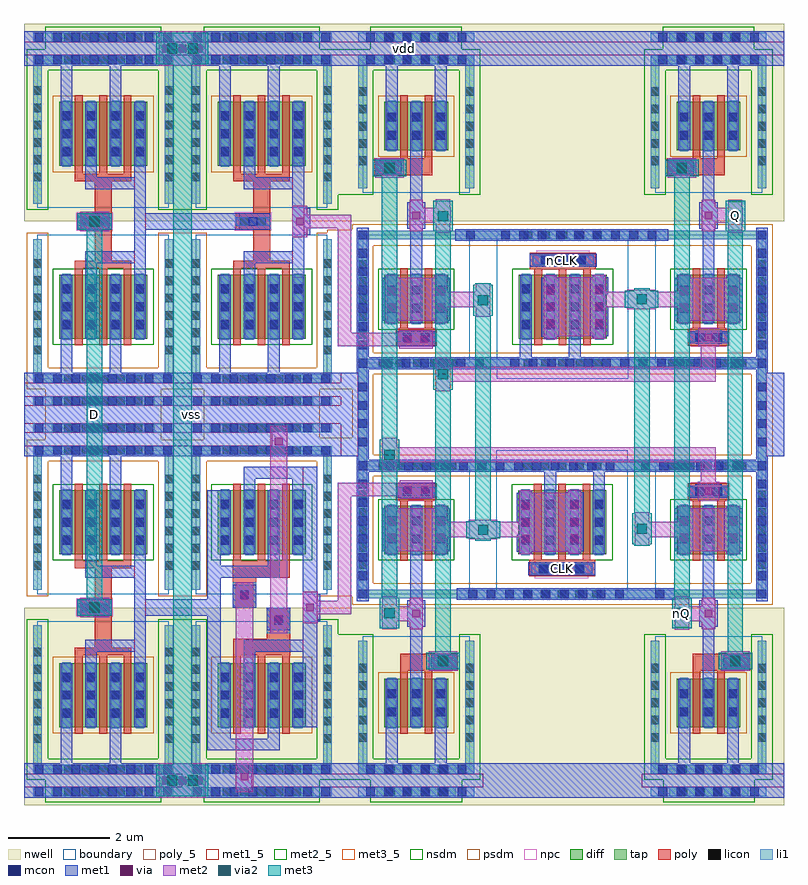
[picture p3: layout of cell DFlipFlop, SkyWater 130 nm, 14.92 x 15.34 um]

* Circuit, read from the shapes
.subckt DFlipFlop CLK D Q nCLK nQ vdd vss
XM1 clock_inverter_2/inverter_cp_x1_1/out D vss vss sky130_fd_pr__nfet_01v8 w=1.25 l=0.15 m=3
XM2 clock_inverter_2/inverter_cp_x1_2/in D vss vss sky130_fd_pr__nfet_01v8 w=1.25 l=0.15 m=3
XM3 clock_inverter_2/nCLK_d vdd clock_inverter_2/inverter_cp_x1_1/out vss sky130_fd_pr__nfet_01v8 w=1.25 l=0.15 m=3
XM4 clock_inverter_2/CLK_d clock_inverter_2/inverter_cp_x1_2/in vss vss sky130_fd_pr__nfet_01v8 w=1.25 l=0.15 m=3
XM5 latch_diff_1/D clock_inverter_2/nCLK_d n1 vss sky130_fd_pr__nfet_01v8 w=0.95 l=0.15 m=2
XM6 latch_diff_1/nD clock_inverter_2/CLK_d n1 vss sky130_fd_pr__nfet_01v8 w=0.95 l=0.15 m=2
XM7 vss CLK n1 vss sky130_fd_pr__nfet_01v8 w=1.25 l=0.15 m=3
XM8 n2 nCLK vss vss sky130_fd_pr__nfet_01v8 w=1.25 l=0.15 m=3
XM9 nQ latch_diff_1/D n2 vss sky130_fd_pr__nfet_01v8 w=0.95 l=0.15 m=2
XM10 Q latch_diff_1/nD n2 vss sky130_fd_pr__nfet_01v8 w=0.95 l=0.15 m=2
XM11 clock_inverter_2/inverter_cp_x1_1/out D vdd vdd sky130_fd_pr__pfet_01v8 w=1.25 l=0.15 m=3
XM12 clock_inverter_2/inverter_cp_x1_2/in D vdd vdd sky130_fd_pr__pfet_01v8 w=1.25 l=0.15 m=3
XM13 clock_inverter_2/nCLK_d vss clock_inverter_2/inverter_cp_x1_1/out vdd sky130_fd_pr__pfet_01v8 w=1.25 l=0.15 m=3
XM14 clock_inverter_2/CLK_d clock_inverter_2/inverter_cp_x1_2/in vdd vdd sky130_fd_pr__pfet_01v8 w=1.25 l=0.15 m=3
XM15 latch_diff_1/D latch_diff_1/nD vdd vdd sky130_fd_pr__pfet_01v8 w=0.95 l=0.15 m=2
XM16 latch_diff_1/nD latch_diff_1/D vdd vdd sky130_fd_pr__pfet_01v8 w=0.95 l=0.15 m=2
XM17 nQ Q vdd vdd sky130_fd_pr__pfet_01v8 w=0.95 l=0.15 m=2
XM18 Q nQ vdd vdd sky130_fd_pr__pfet_01v8 w=0.95 l=0.15 m=2
.ends

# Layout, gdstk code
from math import pi, radians
import gdstk
lib = gdstk.Library(unit=1e-6, precision=1e-09)
def R(c, l, rs):  # rectangles x0, y0, x1, y1
    for r in rs: c.add(gdstk.rectangle(r[:2], r[2:], *l))
def A(c, l, x, y, w, h, nx, ny, dx, dy):  # array of equal rectangles
    R(c, l, [(x+i*dx, y+j*dy, x+i*dx+w, y+j*dy+h) for i in range(nx) for j in range(ny)])
nwell = (64, 20)
diff = (65, 20)
tap = (65, 44)
poly_5 = (66, 5)
poly = (66, 20)
licon = (66, 44)
li1 = (67, 20)
mcon = (67, 44)
met1_5 = (68, 5)
met1 = (68, 20)
via = (68, 44)
met2_5 = (69, 5)
met2 = (69, 20)
via2 = (69, 44)
met3_5 = (70, 5)
met3 = (70, 20)
nsdm = (93, 44)
psdm = (94, 20)
npc = (95, 20)
boundary = (235, 4)

sky130_fd_pr__nfet_01v8_ = lib.new_cell('sky130_fd_pr__nfet_01v8_KU9PSX')
R(sky130_fd_pr__nfet_01v8_, diff, [(-0.625,-0.475,0.625,0.475)])
R(sky130_fd_pr__nfet_01v8_, tap, [(-1.135,-1.345,1.135,-1.175), (-1.135,-1.175,-0.965,1.175)])
R(sky130_fd_pr__nfet_01v8_, poly, [(-0.405,-0.915,0.405,-0.585), (-0.315,-0.585,-0.165,0.605), (0.165,-0.585,0.315,0.605)])
A(sky130_fd_pr__nfet_01v8_, licon, -0.74, -1.345, 0.17, 0.17, 5, 1, 0.34, 0)
A(sky130_fd_pr__nfet_01v8_, licon, -1.135, -0.765, 0.17, 0.17, 1, 5, 0, 0.34)
A(sky130_fd_pr__nfet_01v8_, licon, -0.565, -0.255, 0.17, 0.17, 3, 2, 0.48, 0.34)
R(sky130_fd_pr__nfet_01v8_, licon, [(-0.255,-0.835,-0.085,-0.665), (0.085,-0.835,0.255,-0.665)])
A(sky130_fd_pr__nfet_01v8_, li1, -0.565, -0.495, 0.17, 0.99, 3, 1, 0.48, 0)
R(sky130_fd_pr__nfet_01v8_, li1, [(-1.135,-1.345,1.135,-1.175), (-1.135,-1.175,-0.965,1.175), (-0.405,-0.835,0.405,-0.665)])
A(sky130_fd_pr__nfet_01v8_, mcon, -0.565, -0.265, 0.17, 0.17, 3, 2, 0.48, 0.36)
R(sky130_fd_pr__nfet_01v8_, mcon, [(-0.265,-0.835,-0.095,-0.665), (0.095,-0.835,0.265,-0.665)])
R(sky130_fd_pr__nfet_01v8_, met1, [(-0.385,-0.865,0.385,-0.635), (-0.595,-0.475,-0.365,-0.425), (-0.115,-0.475,0.115,0.475), (0.365,-0.475,0.595,-0.425), (-0.66,-0.425,-0.3,0.42), (0.3,-0.425,0.66,0.42), (-0.595,0.42,-0.365,0.475), (0.365,0.42,0.595,0.475)])
R(sky130_fd_pr__nfet_01v8_, via, [(-0.555,-0.24,-0.405,-0.09), (0.405,-0.24,0.555,-0.09), (-0.555,0.08,-0.405,0.23), (0.405,0.08,0.555,0.23)])
R(sky130_fd_pr__nfet_01v8_, met2, [(-0.61,-0.475,-0.35,-0.425), (0.35,-0.475,0.61,-0.425), (-0.61,-0.425,0.61,0.42), (-0.61,0.42,-0.35,0.47), (0.35,0.42,0.61,0.47)])
R(sky130_fd_pr__nfet_01v8_, nsdm, [(-0.75,-0.6,0.75,0.6)])
R(sky130_fd_pr__nfet_01v8_, psdm, [(-1.26,-1.47,1.26,-1.05), (-1.26,-1.05,-0.84,1.3)])
R(sky130_fd_pr__nfet_01v8_, npc, [(-0.355,-0.935,0.355,-0.565)])
R(sky130_fd_pr__nfet_01v8_, boundary, [(-1.05,-1.26,1.05,1.26)])

sky130_fd_pr__pfet_01v8_ = lib.new_cell('sky130_fd_pr__pfet_01v8_MJG8BZ')
R(sky130_fd_pr__pfet_01v8_, nwell, [(-1.315,-1.57,1.315,1.57)])
R(sky130_fd_pr__pfet_01v8_, diff, [(-0.625,-0.475,0.625,0.475)])
R(sky130_fd_pr__pfet_01v8_, tap, [(-1.135,-1.22,-0.965,1.22), (0.965,-1.22,1.135,1.22), (-1.135,1.22,1.135,1.39)])
R(sky130_fd_pr__pfet_01v8_, poly, [(-0.315,-0.96,0.315,-0.63), (-0.315,-0.63,-0.165,0.605), (0.165,-0.63,0.315,0.605)])
A(sky130_fd_pr__pfet_01v8_, licon, -1.135, -0.765, 0.17, 0.17, 1, 5, 0, 0.34)
A(sky130_fd_pr__pfet_01v8_, licon, 0.965, -0.765, 0.17, 0.17, 1, 5, 0, 0.34)
A(sky130_fd_pr__pfet_01v8_, licon, -0.565, -0.255, 0.17, 0.17, 3, 2, 0.48, 0.34)
A(sky130_fd_pr__pfet_01v8_, licon, -0.595, 1.22, 0.17, 0.17, 4, 1, 0.34, 0)
A(sky130_fd_pr__pfet_01v8_, li1, -0.565, -0.495, 0.17, 0.99, 3, 1, 0.48, 0)
R(sky130_fd_pr__pfet_01v8_, li1, [(-1.135,-1.22,-0.965,1.22), (0.965,-1.22,1.135,1.22), (-1.135,1.22,1.135,1.39)])
A(sky130_fd_pr__pfet_01v8_, mcon, -0.565, -0.265, 0.17, 0.17, 3, 2, 0.48, 0.36)
A(sky130_fd_pr__pfet_01v8_, met1, -0.595, -0.475, 0.23, 0.95, 3, 1, 0.48, 0)
R(sky130_fd_pr__pfet_01v8_, nsdm, [(-1.26,-1.345,-0.84,1.095), (0.84,-1.345,1.26,1.095), (-1.26,1.095,1.26,1.515)])
R(sky130_fd_pr__pfet_01v8_, psdm, [(-0.75,-0.6,0.75,0.6)])
R(sky130_fd_pr__pfet_01v8_, boundary, [(-1.05,-1.305,1.05,1.305)])

c_sky130_fd_pr__nfet_01v8_ = lib.new_cell('sky130_fd_pr__nfet_01v8_2BS854')
R(c_sky130_fd_pr__nfet_01v8_, diff, [(-0.865,-0.625,0.865,0.625)])
R(c_sky130_fd_pr__nfet_01v8_, tap, [(-1.205,-1.495,1.205,-1.325), (-1.205,1.025,1.205,1.195)])
A(c_sky130_fd_pr__nfet_01v8_, poly, -0.555, -0.735, 0.15, 1.49, 3, 1, 0.48, 0)
R(c_sky130_fd_pr__nfet_01v8_, poly, [(-0.645,-1.065,0.645,-0.735)])
A(c_sky130_fd_pr__nfet_01v8_, licon, -0.765, -1.495, 0.17, 0.17, 5, 2, 0.34, 2.52)
A(c_sky130_fd_pr__nfet_01v8_, licon, -0.435, -1, 0.17, 0.17, 3, 1, 0.34, 0)
A(c_sky130_fd_pr__nfet_01v8_, licon, -0.805, -0.425, 0.17, 0.17, 4, 3, 0.48, 0.34)
A(c_sky130_fd_pr__nfet_01v8_, li1, -0.805, -0.645, 0.17, 1.29, 4, 1, 0.48, 0)
R(c_sky130_fd_pr__nfet_01v8_, li1, [(-1.205,-1.495,1.205,-1.325), (-0.61,-1.015,0.59,-0.815), (-1.205,1.025,1.205,1.195)])
A(c_sky130_fd_pr__nfet_01v8_, mcon, -0.455, -1, 0.17, 0.17, 3, 1, 0.36, 0)
A(c_sky130_fd_pr__nfet_01v8_, mcon, -0.805, -0.445, 0.17, 0.17, 4, 3, 0.48, 0.36)
A(c_sky130_fd_pr__nfet_01v8_, met1, -0.835, -0.625, 0.23, 1.25, 4, 1, 0.48, 0)
R(c_sky130_fd_pr__nfet_01v8_, met1, [(-0.67,-1.045,0.65,-0.785)])
R(c_sky130_fd_pr__nfet_01v8_, nsdm, [(-0.99,-0.75,0.99,0.75)])
R(c_sky130_fd_pr__nfet_01v8_, psdm, [(-1.33,-1.62,1.33,-1.2), (-1.33,0.9,1.33,1.32)])
R(c_sky130_fd_pr__nfet_01v8_, npc, [(-0.535,-1.1,0.515,-0.73)])
R(c_sky130_fd_pr__nfet_01v8_, boundary, [(-1.29,-1.41,1.29,1.41)])

latch_diff = lib.new_cell('latch_diff')
R(latch_diff, nwell, [(-0.165,-3.58,2.63,-3.14), (-0.165,-3.14,0,-0.005), (-0.165,-0.005,2.63,0.3), (-0.165,7.88,2.63,9.5), (-0.165,9.5,1.7,10.685), (-0.165,10.685,1.535,11.305), (-0.165,11.305,2.625,11.32), (-0.165,11.32,2.63,11.76)])
R(latch_diff, tap, [(0.54,-3.4,2.09,-3.23), (0.18,0.48,3.065,0.65), (0.18,0.65,0.35,0.91), (0.18,2.815,0.35,5.135), (2.12,3,3.165,3.17), (2.265,5.01,2.775,5.18), (0.18,7.53,2.17,7.7), (0.535,11.41,2.085,11.58)])
R(latch_diff, poly, [(1.48,-0.94,2.135,-0.61), (0.495,8.79,1.15,9.12)])
A(latch_diff, licon, 0.72, -3.4, 0.17, 0.17, 4, 1, 0.34, 0)
A(latch_diff, licon, 0.715, 11.41, 0.17, 0.17, 4, 1, 0.34, 0)
R(latch_diff, licon, [(1.755,-0.855,1.925,-0.685), (0.705,8.865,0.875,9.035)])
R(latch_diff, li1, [(0.18,-3.4,2.45,-3.23), (0.18,-2.96,2.45,-2.79), (1.59,-0.855,2.09,-0.685), (0.18,0.48,5.56,0.65), (0.18,0.65,0.35,3), (0.18,3,5.385,3.17), (0.18,3.17,0.35,5.01), (0.18,5.01,2.775,5.18), (0.18,5.18,0.35,7.53), (0.18,7.53,2.17,7.7), (0.54,8.865,1.04,9.035), (0.18,10.97,2.45,11.14), (0.18,11.41,2.45,11.58)])
A(latch_diff, mcon, 0.33, -3.4, 0.17, 0.17, 6, 2, 0.36, 0.44)
A(latch_diff, mcon, 0.18, 0.48, 0.17, 0.17, 1, 8, 0, 0.36)
A(latch_diff, mcon, 2.34, 0.48, 0.17, 0.17, 9, 1, 0.36, 0)
A(latch_diff, mcon, 0.715, 3, 0.17, 0.17, 13, 1, 0.36, 0)
A(latch_diff, mcon, 0.18, 3.465, 0.17, 0.17, 1, 4, 0, 0.36)
A(latch_diff, mcon, 0.18, 5.01, 0.17, 0.17, 1, 8, 0, 0.36)
A(latch_diff, mcon, 0.67, 5.01, 0.17, 0.17, 6, 1, 0.36, 0)
A(latch_diff, mcon, 0.33, 10.97, 0.17, 0.17, 6, 2, 0.36, 0.44)
R(latch_diff, mcon, [(1.755,-0.855,1.925,-0.685), (0.705,8.865,0.875,9.035)])
R(latch_diff, met1_5, [(-0.165,-3.23,2.63,-2.96), (3.57,0.96,4.77,1.16), (0.99,2.49,1.64,2.66), (-0.165,3.27,0.18,4.91), (0.99,5.52,1.64,5.69), (-0.165,11.14,2.63,11.41)])
R(latch_diff, met1, [(-0.165,-3.43,2.63,-2.76), (0.72,-2.76,0.95,-2.04), (1.68,-2.76,1.91,-1.995), (1.2,-1.095,1.43,-0.075), (1.61,-0.885,2.12,-0.625), (1.135,-0.075,1.495,0.445), (0.15,0.42,0.38,2.97), (1.2,0.445,1.43,1.35), (2.11,0.45,5.62,0.68), (3.57,0.96,4.77,1.16), (3.285,1.4,3.645,1.73), (4.245,1.405,4.605,2.56), (3.335,1.73,3.645,1.96), (3.285,1.96,3.645,2.555), (0.99,2.49,1.64,2.66), (3.83,2.595,4.06,2.97), (4.79,2.595,5.02,2.97), (0.15,2.97,5.445,3.2), (0.15,3.2,0.38,3.27), (-0.165,3.27,0.38,4.91), (0.15,4.91,0.38,4.98), (0.15,4.98,2.835,5.21), (0.15,5.21,0.38,7.76), (0.99,5.52,1.64,5.69), (1.2,6.83,1.43,7.735), (1.135,7.735,1.495,8.255), (1.2,8.255,1.43,9.505), (0.51,8.805,1.02,9.065), (0.72,10.225,0.95,10.94), (1.68,10.225,1.91,10.94), (-0.165,10.94,2.63,11.61)])
A(latch_diff, via, 3.39, 1.58, 0.15, 0.15, 1, 3, 0, 0.32)
A(latch_diff, via, 4.35, 1.585, 0.15, 0.15, 1, 3, 0, 0.32)
R(latch_diff, via, [(1.79,-0.83,1.94,-0.68), (1.24,0.11,1.39,0.26), (1.24,7.92,1.39,8.07), (0.69,8.86,0.84,9.01)])
R(latch_diff, met2, [(1.56,-0.94,2.12,-0.56), (0.65,-0.13,0.93,0.035), (1.185,-0.125,1.445,0.035), (0.64,0.035,1.445,0.33), (0.65,0.33,0.93,0.52), (1.185,0.33,1.445,0.495), (3.335,1.35,3.595,1.4), (4.295,1.355,4.555,1.4), (3.335,1.4,4.555,1.68), (2.35,1.64,2.91,1.68), (1.8,1.68,4.555,1.98), (2.35,1.98,2.91,2.02), (3.335,1.98,4.555,2.555), (3.335,2.555,3.595,2.605), (4.295,2.555,4.555,2.61), (2.485,6.005,2.765,6.195), (1.795,6.195,2.765,6.495), (2.485,6.495,2.765,6.665), (1.7,7.66,1.98,7.85), (1.185,7.685,1.445,7.85), (1.185,7.85,1.99,8.145), (1.185,8.145,1.445,8.305), (1.7,8.145,1.98,8.315), (0.51,8.74,1.07,9.12)])
R(latch_diff, via2, [(1.74,-0.85,1.94,-0.65), (0.69,0.09,0.89,0.29), (2.53,1.73,2.73,1.93), (2.525,6.235,2.725,6.435), (1.74,7.885,1.94,8.085), (0.69,8.83,0.89,9.03)])
R(latch_diff, met3_5, [(1.69,-0.61,1.99,7.71), (0.64,0.47,0.94,8.79)])
R(latch_diff, met3, [(1.51,-0.915,2.17,-0.585), (1.69,-0.585,1.99,7.685), (0.6,-0.11,0.98,0.495), (0.64,0.495,0.94,8.765), (2.475,1.615,2.775,1.665), (2.3,1.665,2.96,1.995), (2.475,1.995,2.775,6.03), (2.435,6.03,2.815,6.64), (2.475,6.64,2.775,6.665), (1.65,7.685,2.03,8.29), (0.46,8.765,1.12,9.095)])
R(latch_diff, nsdm, [(0.415,-3.525,2.215,-3.085), (0.41,11.265,2.21,11.705)])
R(latch_diff, psdm, [(0.055,0.355,3.19,0.775), (0.055,0.775,0.475,1.035), (0.055,2.69,0.475,5.26), (1.995,2.875,3.29,3.295), (2.14,4.885,2.9,5.305), (0.055,7.405,2.295,7.825)])
R(latch_diff, npc, [(1.655,-0.955,2.025,-0.585), (0.605,8.765,0.975,9.135)])
latch_diff.add(gdstk.Reference(sky130_fd_pr__nfet_01v8_, (1.315,1.825), x_reflection=True))
latch_diff.add(gdstk.Reference(sky130_fd_pr__nfet_01v8_, (1.315,6.355)))
latch_diff.add(gdstk.Reference(sky130_fd_pr__pfet_01v8_, (1.315,-1.57), rotation=pi))
latch_diff.add(gdstk.Reference(sky130_fd_pr__pfet_01v8_, (1.315,9.75)))
latch_diff.add(gdstk.Reference(c_sky130_fd_pr__nfet_01v8_, (4.18,1.975)))
latch_diff.add(gdstk.Label('vss', (0.007,4.09), layer=68, texttype=5))
latch_diff.add(gdstk.Label('vdd', (1.232,11.275), layer=68, texttype=5))
latch_diff.add(gdstk.Label('Q', (0.79,4.63), layer=70, texttype=5))
latch_diff.add(gdstk.Label('nQ', (1.84,3.55), layer=70, texttype=5))
latch_diff.add(gdstk.Label('D', (1.315,5.605), layer=68, texttype=5))
latch_diff.add(gdstk.Label('nD', (1.315,2.575), layer=68, texttype=5))
latch_diff.add(gdstk.Label('vdd', (1.232,-3.095), layer=68, texttype=5))
latch_diff.add(gdstk.Label('CLK', (4.17,1.06), layer=68, texttype=5))

c_sky130_fd_pr__nfet_01v8__ = lib.new_cell('sky130_fd_pr__nfet_01v8_BHR94T')
R(c_sky130_fd_pr__nfet_01v8__, diff, [(-0.865,-0.625,0.865,0.625)])
R(c_sky130_fd_pr__nfet_01v8__, tap, [(-1.375,-1.495,1.375,-1.325), (-1.375,-1.325,-1.205,1.325), (1.205,-1.325,1.375,1.325)])
A(c_sky130_fd_pr__nfet_01v8__, poly, -0.555, -0.755, 0.15, 1.51, 3, 1, 0.48, 0)
A(c_sky130_fd_pr__nfet_01v8__, licon, -0.765, -1.495, 0.17, 0.17, 5, 1, 0.34, 0)
A(c_sky130_fd_pr__nfet_01v8__, licon, -1.375, -0.935, 0.17, 0.17, 1, 6, 0, 0.34)
A(c_sky130_fd_pr__nfet_01v8__, licon, 1.205, -0.935, 0.17, 0.17, 1, 6, 0, 0.34)
A(c_sky130_fd_pr__nfet_01v8__, licon, -0.805, -0.425, 0.17, 0.17, 4, 3, 0.48, 0.34)
A(c_sky130_fd_pr__nfet_01v8__, li1, -0.805, -0.645, 0.17, 1.29, 4, 1, 0.48, 0)
R(c_sky130_fd_pr__nfet_01v8__, li1, [(-1.375,-1.495,1.375,-1.325), (-1.375,-1.325,-1.205,1.325), (1.205,-1.325,1.375,1.325)])
A(c_sky130_fd_pr__nfet_01v8__, mcon, -0.805, -0.445, 0.17, 0.17, 4, 3, 0.48, 0.36)
A(c_sky130_fd_pr__nfet_01v8__, met1, -0.835, -0.625, 0.23, 1.25, 4, 1, 0.48, 0)
R(c_sky130_fd_pr__nfet_01v8__, nsdm, [(-0.99,-0.75,0.99,0.75)])
R(c_sky130_fd_pr__nfet_01v8__, psdm, [(-1.5,-1.62,1.5,-1.2), (-1.5,-1.2,-1.08,1.45), (1.08,-1.2,1.5,1.45)])
R(c_sky130_fd_pr__nfet_01v8__, boundary, [(-1.29,-1.41,1.29,1.41)])

c_sky130_fd_pr__pfet_01v8_ = lib.new_cell('sky130_fd_pr__pfet_01v8_4798MH')
R(c_sky130_fd_pr__pfet_01v8_, nwell, [(-1.555,-1.72,1.555,1.72)])
R(c_sky130_fd_pr__pfet_01v8_, diff, [(-0.865,-0.625,0.865,0.625)])
R(c_sky130_fd_pr__pfet_01v8_, tap, [(-1.375,-1.37,-1.205,1.37), (1.205,-1.37,1.375,1.37), (-1.375,1.37,1.375,1.54)])
A(c_sky130_fd_pr__pfet_01v8_, poly, -0.555, -0.78, 0.15, 1.535, 3, 1, 0.48, 0)
A(c_sky130_fd_pr__pfet_01v8_, licon, -1.375, -0.935, 0.17, 0.17, 1, 6, 0, 0.34)
A(c_sky130_fd_pr__pfet_01v8_, licon, 1.205, -0.935, 0.17, 0.17, 1, 6, 0, 0.34)
A(c_sky130_fd_pr__pfet_01v8_, licon, -0.805, -0.425, 0.17, 0.17, 4, 3, 0.48, 0.34)
A(c_sky130_fd_pr__pfet_01v8_, licon, -0.765, 1.37, 0.17, 0.17, 5, 1, 0.34, 0)
A(c_sky130_fd_pr__pfet_01v8_, li1, -0.805, -0.645, 0.17, 1.29, 4, 1, 0.48, 0)
R(c_sky130_fd_pr__pfet_01v8_, li1, [(-1.375,-1.37,-1.205,1.37), (1.205,-1.37,1.375,1.37), (-1.375,1.37,1.375,1.54)])
A(c_sky130_fd_pr__pfet_01v8_, mcon, -0.805, -0.445, 0.17, 0.17, 4, 3, 0.48, 0.36)
A(c_sky130_fd_pr__pfet_01v8_, met1, -0.835, -0.625, 0.23, 1.25, 4, 1, 0.48, 0)
R(c_sky130_fd_pr__pfet_01v8_, nsdm, [(-1.5,-1.495,-1.08,1.245), (1.08,-1.495,1.5,1.245), (-1.5,1.245,1.5,1.665)])
R(c_sky130_fd_pr__pfet_01v8_, psdm, [(-0.99,-0.75,0.99,0.75)])
R(c_sky130_fd_pr__pfet_01v8_, boundary, [(-1.29,-1.455,1.29,1.455)])

trans_gate = lib.new_cell('trans_gate')
R(trans_gate, nwell, [(-0.265,3.175,2.845,3.615)])
R(trans_gate, tap, [(0.275,-3.875,2.305,-3.705), (0.275,3.265,2.305,3.435)])
R(trans_gate, poly, [(0.725,-1.185,1.845,-0.855), (0.725,-0.855,1.185,-0.265), (1.395,-0.265,1.855,0.345), (0.735,0.345,1.855,0.675)])
A(trans_gate, licon, 0.525, -3.875, 0.17, 0.17, 5, 2, 0.34, 7.14)
R(trans_gate, licon, [(0.87,-0.6,1.04,-0.43), (1.54,-0.1,1.71,0.07)])
R(trans_gate, li1, [(-0.085,-3.875,2.665,-3.705), (-0.085,-3.435,2.665,-3.265), (0.725,-0.765,1.185,-0.265), (1.395,-0.265,1.855,0.235), (-0.085,2.825,2.665,2.995), (-0.085,3.265,2.665,3.435)])
A(trans_gate, mcon, -0.055, -3.875, 0.17, 0.17, 8, 2, 0.36, 0.44)
A(trans_gate, mcon, -0.055, 2.825, 0.17, 0.17, 8, 2, 0.36, 0.44)
R(trans_gate, mcon, [(0.87,-0.6,1.04,-0.43), (1.54,-0.1,1.71,0.07)])
R(trans_gate, met1_5, [(-0.265,-3.705,1.495,-3.435), (1.085,2.995,2.845,3.265)])
R(trans_gate, met1, [(-0.265,-3.905,2.845,-3.235), (0.935,-3.025,2.385,-2.795), (0.935,-2.795,1.165,-2.565), (1.895,-2.795,2.385,-2.505), (0.225,-2.565,0.455,-1.705), (2.095,-2.505,2.385,-2.275), (2.125,-2.275,2.385,-1.715), (2.095,-1.715,2.385,0.37), (0.225,-1.705,0.485,-1.085), (1.415,-1.315,1.645,-1.085), (0.225,-1.085,1.645,-0.855), (0.225,-0.855,0.485,2.02), (0.725,-0.715,1.185,-0.265), (1.395,-0.265,1.855,0.185), (0.935,0.37,2.385,0.6), (0.935,0.6,1.165,0.89), (2.095,0.6,2.385,0.915), (2.125,0.915,2.385,2.08), (0.225,2.02,0.685,2.31), (1.415,2.02,1.645,2.31), (0.225,2.31,1.645,2.54), (-0.265,2.795,2.845,3.465)])
R(trans_gate, via, [(1.55,-3.6,1.7,-3.45), (0.88,-0.565,1.03,-0.415), (1.55,-0.115,1.7,0.035), (0.88,2.98,1.03,3.13)])
R(trans_gate, met2, [(1.495,-3.835,1.755,-3.83), (1.455,-3.83,1.795,0.235), (0.785,-0.765,1.125,3.365)])
R(trans_gate, nsdm, [(0.15,3.12,2.43,3.56)])
R(trans_gate, psdm, [(0.15,-4,2.43,-3.56)])
R(trans_gate, npc, [(0.77,-0.7,1.14,-0.33), (1.44,-0.2,1.81,0.17)])
trans_gate.add(gdstk.Reference(c_sky130_fd_pr__nfet_01v8__, (1.29,-1.94)))
trans_gate.add(gdstk.Reference(c_sky130_fd_pr__pfet_01v8_, (1.29,1.455)))
trans_gate.add(gdstk.Label('vdd', (1.965,3.13), layer=68, texttype=5))
trans_gate.add(gdstk.Label('vss', (0.615,-3.57), layer=68, texttype=5))

c_sky130_fd_pr__nfet_01v8___ = lib.new_cell('sky130_fd_pr__nfet_01v8_2BS6QM')
R(c_sky130_fd_pr__nfet_01v8___, diff, [(-0.865,-0.625,0.865,0.625)])
R(c_sky130_fd_pr__nfet_01v8___, tap, [(-1.375,-1.495,1.375,-1.325), (-1.375,-1.325,-1.205,1.325), (1.205,-1.325,1.375,1.325)])
A(c_sky130_fd_pr__nfet_01v8___, poly, -0.555, -0.755, 0.15, 1.51, 3, 1, 0.48, 0)
R(c_sky130_fd_pr__nfet_01v8___, poly, [(-0.555,0.755,0.555,0.905)])
A(c_sky130_fd_pr__nfet_01v8___, licon, -0.765, -1.495, 0.17, 0.17, 5, 1, 0.34, 0)
A(c_sky130_fd_pr__nfet_01v8___, licon, -1.375, -0.935, 0.17, 0.17, 1, 6, 0, 0.34)
A(c_sky130_fd_pr__nfet_01v8___, licon, 1.205, -0.935, 0.17, 0.17, 1, 6, 0, 0.34)
A(c_sky130_fd_pr__nfet_01v8___, licon, -0.805, -0.425, 0.17, 0.17, 4, 3, 0.48, 0.34)
A(c_sky130_fd_pr__nfet_01v8___, li1, -0.805, -0.645, 0.17, 1.29, 4, 1, 0.48, 0)
R(c_sky130_fd_pr__nfet_01v8___, li1, [(-1.375,-1.495,1.375,-1.325), (-1.375,-1.325,-1.205,1.325), (1.205,-1.325,1.375,1.325)])
A(c_sky130_fd_pr__nfet_01v8___, mcon, -0.805, -0.445, 0.17, 0.17, 4, 3, 0.48, 0.36)
A(c_sky130_fd_pr__nfet_01v8___, met1, -0.835, -0.625, 0.23, 1.25, 4, 1, 0.48, 0)
R(c_sky130_fd_pr__nfet_01v8___, nsdm, [(-0.99,-0.75,0.99,0.75)])
R(c_sky130_fd_pr__nfet_01v8___, psdm, [(-1.5,-1.62,1.5,-1.2), (-1.5,-1.2,-1.08,1.45), (1.08,-1.2,1.5,1.45)])
R(c_sky130_fd_pr__nfet_01v8___, boundary, [(-1.29,-1.41,1.29,1.41)])

c_sky130_fd_pr__pfet_01v8__ = lib.new_cell('sky130_fd_pr__pfet_01v8_7KT7MH')
R(c_sky130_fd_pr__pfet_01v8__, nwell, [(-1.555,-1.72,1.555,1.72)])
R(c_sky130_fd_pr__pfet_01v8__, diff, [(-0.865,-0.625,0.865,0.625)])
R(c_sky130_fd_pr__pfet_01v8__, tap, [(-1.375,-1.37,-1.205,1.37), (1.205,-1.37,1.375,1.37), (-1.375,1.37,1.375,1.54)])
A(c_sky130_fd_pr__pfet_01v8__, poly, -0.555, -0.78, 0.15, 1.535, 3, 1, 0.48, 0)
R(c_sky130_fd_pr__pfet_01v8__, poly, [(-0.555,-0.93,0.555,-0.78)])
A(c_sky130_fd_pr__pfet_01v8__, licon, -1.375, -0.935, 0.17, 0.17, 1, 6, 0, 0.34)
A(c_sky130_fd_pr__pfet_01v8__, licon, 1.205, -0.935, 0.17, 0.17, 1, 6, 0, 0.34)
A(c_sky130_fd_pr__pfet_01v8__, licon, -0.805, -0.425, 0.17, 0.17, 4, 3, 0.48, 0.34)
A(c_sky130_fd_pr__pfet_01v8__, licon, -0.765, 1.37, 0.17, 0.17, 5, 1, 0.34, 0)
A(c_sky130_fd_pr__pfet_01v8__, li1, -0.805, -0.645, 0.17, 1.29, 4, 1, 0.48, 0)
R(c_sky130_fd_pr__pfet_01v8__, li1, [(-1.375,-1.37,-1.205,1.37), (1.205,-1.37,1.375,1.37), (-1.375,1.37,1.375,1.54)])
A(c_sky130_fd_pr__pfet_01v8__, mcon, -0.805, -0.445, 0.17, 0.17, 4, 3, 0.48, 0.36)
A(c_sky130_fd_pr__pfet_01v8__, met1, -0.835, -0.625, 0.23, 1.25, 4, 1, 0.48, 0)
R(c_sky130_fd_pr__pfet_01v8__, nsdm, [(-1.5,-1.495,-1.08,1.245), (1.08,-1.495,1.5,1.245), (-1.5,1.245,1.5,1.665)])
R(c_sky130_fd_pr__pfet_01v8__, psdm, [(-0.99,-0.75,0.99,0.75)])
R(c_sky130_fd_pr__pfet_01v8__, boundary, [(-1.29,-1.455,1.29,1.455)])

inverter_cp_x1 = lib.new_cell('inverter_cp_x1')
R(inverter_cp_x1, nwell, [(0,3.44,3.11,3.88)])
R(inverter_cp_x1, tap, [(0.54,-3.61,2.57,-3.44), (0.54,3.53,2.57,3.7)])
R(inverter_cp_x1, poly, [(1.39,-0.92,1.72,-0.165), (1.05,-0.165,1.72,0.165), (1.39,0.165,1.72,0.94)])
A(inverter_cp_x1, licon, 0.79, -3.61, 0.17, 0.17, 5, 2, 0.34, 7.14)
R(inverter_cp_x1, licon, [(1.13,-0.085,1.3,0.085), (1.47,-0.085,1.64,0.085)])
R(inverter_cp_x1, li1, [(0.18,-3.61,2.93,-3.44), (0.18,-3.17,2.93,-3), (1.05,-0.085,1.72,0.085), (0.18,3.09,2.93,3.26), (0.18,3.53,2.93,3.7)])
A(inverter_cp_x1, mcon, 0.21, -3.61, 0.17, 0.17, 8, 2, 0.36, 0.44)
A(inverter_cp_x1, mcon, 0.21, 3.09, 0.17, 0.17, 8, 2, 0.36, 0.44)
R(inverter_cp_x1, mcon, [(1.3,-0.085,1.47,0.085)])
R(inverter_cp_x1, met1_5, [(0,-3.44,3.11,-3.17), (2.16,-1.05,2.39,1.11), (1.05,-0.165,1.13,0.165), (0,3.26,3.11,3.53)])
R(inverter_cp_x1, met1, [(0,-3.64,3.11,-2.97), (0.72,-2.97,0.95,-2.275), (1.68,-2.97,1.91,-2.255), (1.2,-1.05,1.43,-0.82), (2.16,-1.05,2.39,-0.82), (1.2,-0.82,2.39,-0.59), (2.16,-0.59,2.39,0.635), (1.05,-0.165,1.72,0.165), (1.2,0.635,2.39,0.865), (1.2,0.865,1.43,1.155), (2.16,0.865,2.39,1.11), (0.72,2.345,0.95,3.06), (1.68,2.345,1.91,3.06), (0,3.06,3.11,3.73)])
R(inverter_cp_x1, nsdm, [(0.415,3.385,2.695,3.825)])
R(inverter_cp_x1, psdm, [(0.415,-3.735,2.695,-3.295)])
R(inverter_cp_x1, npc, [(1.03,-0.185,1.74,0.185)])
inverter_cp_x1.add(gdstk.Reference(c_sky130_fd_pr__nfet_01v8___, (1.555,-1.675)))
inverter_cp_x1.add(gdstk.Reference(c_sky130_fd_pr__pfet_01v8__, (1.555,1.72)))
inverter_cp_x1.add(gdstk.Label('vdd', (1.555,3.395), layer=68, texttype=5))
inverter_cp_x1.add(gdstk.Label('vss', (1.555,-3.305), layer=68, texttype=5))
inverter_cp_x1.add(gdstk.Label('in', (1.09,0), layer=68, texttype=5))
inverter_cp_x1.add(gdstk.Label('out', (2.275,0.03), layer=68, texttype=5))

clock_inverter = lib.new_cell('clock_inverter')
R(clock_inverter, met1_5, [(5.47,1.535,5.76,6.64), (0,7.52,6.22,7.82), (5.27,10.35,5.5,12.615), (0,14.72,6.22,14.99)])
R(clock_inverter, met1, [(2.6,0.2,3.62,0.35), (0,0.35,6.22,0.62), (2.6,0.62,3.62,0.77), (5.47,1.535,5.76,6.64), (1.105,3.715,1.13,3.74), (2.39,3.715,3.6,4.045), (1.05,3.74,1.72,4.02), (1.105,4.02,1.13,4.045), (0,7.52,6.22,7.82), (5.27,10.35,5.5,12.615), (2.21,11.295,4.24,11.625), (1.05,11.32,1.72,11.6), (2.6,14.57,3.62,14.72), (0,14.72,6.22,14.99), (2.6,14.99,3.62,15.14)])
A(clock_inverter, via, 2.715, 0.41, 0.15, 0.15, 3, 2, 0.32, 14.37)
R(clock_inverter, via, [(1.31,3.805,1.46,3.955), (1.31,11.385,1.46,11.535)])
R(clock_inverter, met2, [(2.65,0.15,3.57,0.82), (1.1,3.69,1.67,4.07), (1.1,11.27,1.67,11.65), (2.65,14.52,3.57,15.19)])
R(clock_inverter, via2, [(2.81,0.385,3.01,0.585), (3.21,0.385,3.41,0.585), (1.285,3.78,1.485,3.98), (1.285,11.36,1.485,11.56), (2.81,14.755,3.01,14.955), (3.21,14.755,3.41,14.955)])
R(clock_inverter, met3_5, [(1.235,7.52,1.535,7.82)])
R(clock_inverter, met3, [(2.6,0.175,3.62,0.795), (2.93,0.795,3.29,14.545), (1.05,3.715,1.72,4.045), (1.235,4.045,1.535,11.295), (1.05,11.295,1.72,11.625), (2.6,14.545,3.62,15.165)])
R(clock_inverter, nsdm, [(3.055,0.495,3.165,3.655), (3.055,11.685,3.165,14.845)])
R(clock_inverter, psdm, [(3.055,4.105,3.165,7.175), (0.415,7.615,2.695,7.725), (3.525,7.615,5.805,7.725), (3.055,8.165,3.165,11.235)])
clock_inverter.add(gdstk.Reference(trans_gate, (3.375,3.615), x_reflection=True))
clock_inverter.add(gdstk.Reference(inverter_cp_x1, (0,3.88), x_reflection=True))
clock_inverter.add(gdstk.Reference(inverter_cp_x1, (3.11,11.46)))
clock_inverter.add(gdstk.Reference(inverter_cp_x1, (0,11.46)))
clock_inverter.add(gdstk.Label('vss', (3.11,7.67), layer=68, texttype=5))
clock_inverter.add(gdstk.Label('vdd', (3.11,14.855), layer=68, texttype=5))
clock_inverter.add(gdstk.Label('CLK', (1.385,7.67), layer=70, texttype=5))
clock_inverter.add(gdstk.Label('CLK_d', (5.385,11.482), layer=68, texttype=5))
clock_inverter.add(gdstk.Label('nCLK_d', (5.615,4.087), layer=68, texttype=5))

dflipflop = lib.new_cell('DFlipFlop')
R(dflipflop, nwell, [(2.795,0,5.905,3.88), (2.795,11.46,5.905,15.34)])
R(dflipflop, tap, [(5,4.06,6.535,4.23), (2.435,6.58,6.245,6.75), (2.445,8.59,6.21,8.76), (2.165,11.11,3.27,11.28)])
R(dflipflop, poly_5, [(3.7,4.49,4.995,4.82), (3.705,10.52,5,10.85)])
R(dflipflop, poly, [(3.7,4.49,4.995,4.82), (3.705,10.52,5,10.85)])
R(dflipflop, li1, [(5.14,4.06,6.55,4.23), (2.445,6.58,6.28,6.75), (2.415,8.59,6.325,8.76), (2.165,11.11,3.27,11.28)])
R(dflipflop, mcon, [(6.175,4.06,6.345,4.23), (2.46,11.11,2.63,11.28)])
R(dflipflop, met1_5, [(-6.22,7.49,0.345,7.85), (-6.22,14.72,8.7,14.99)])
R(dflipflop, met1, [(2.795,0.15,5.905,0.35), (-6.22,0.35,8.7,0.62), (2.795,0.62,5.905,0.82), (-0.75,3.62,-0.405,4.14), (5.785,4.03,6.555,4.26), (6.96,6.04,7.48,6.3), (1.105,6.07,1.855,6.27), (1.095,6.27,1.865,6.33), (5.525,6.55,5.835,6.78), (-6.22,7.49,0.345,7.85), (2.935,8.56,3.18,8.79), (1.095,9.01,1.865,9.07), (6.965,9.055,7.48,9.315), (1.095,9.07,1.855,9.27), (2.25,11.08,2.98,11.31), (-0.95,11.2,-0.605,11.72), (2.615,14.52,5.99,14.7), (2.615,14.7,5.975,14.72), (-6.22,14.72,8.7,14.99), (2.615,14.99,6.265,15.135), (2.615,15.135,6,15.19)])
R(dflipflop, via, [(-0.68,3.805,-0.53,3.955), (7.145,6.095,7.295,6.245), (1.245,6.125,1.395,6.275), (1.565,6.125,1.715,6.275), (1.24,9.065,1.39,9.215), (1.56,9.065,1.71,9.215), (7.145,9.11,7.295,9.26), (-0.88,11.385,-0.73,11.535)])
R(dflipflop, met2_5, [(6.555,3.495,6.835,4.05), (7.605,11.29,7.885,11.845)])
R(dflipflop, met2, [(6.555,3.495,6.835,4.05), (-0.75,3.57,-0.455,3.75), (-0.75,3.75,0.2,4.01), (-0.75,4.01,-0.455,4.19), (-0.06,4.01,0.2,6.07), (7.01,5.99,7.43,6.35), (1.155,6.02,1.805,6.07), (-0.06,6.07,1.805,6.33), (1.155,6.33,1.805,6.38), (7.065,6.35,7.365,6.73), (0.815,6.55,1.095,6.73), (0.815,6.73,7.365,7.03), (0.815,7.03,1.095,7.21), (1.865,8.13,2.145,8.31), (1.865,8.31,7.365,8.61), (1.865,8.61,2.145,8.79), (7.065,8.61,7.365,9.005), (1.145,8.96,1.805,9.01), (7.015,9.005,7.43,9.365), (-0.06,9.01,1.805,9.27), (-0.06,9.27,0.2,11.33), (1.145,9.27,1.805,9.32), (-0.95,11.15,-0.655,11.33), (7.605,11.29,7.885,11.845), (-0.95,11.33,0.2,11.59), (-0.95,11.59,-0.655,11.77)])
R(dflipflop, via2, [(0.855,6.78,1.055,6.98), (1.905,8.36,2.105,8.56)])
R(dflipflop, met3_5, [(-4.985,7.49,-4.685,7.85)])
R(dflipflop, met3, [(-4.985,4.02,-4.685,11.32), (0.765,6.575,1.145,7.185), (1.815,8.155,2.195,8.765)])
R(dflipflop, nsdm, [(-0.055,0.495,0.22,3.355), (-0.055,11.985,0.22,14.845)])
R(dflipflop, psdm, [(4.875,3.935,6.66,4.355), (-0.055,4.105,0.22,7.175), (2.31,6.455,6.37,6.875), (-0.415,7.175,0.22,7.215), (-0.055,8.165,0.22,11.235), (2.32,8.465,6.335,8.885), (2.04,10.985,3.395,11.405), (-0.27,11.235,0.22,11.3)])
dflipflop.add(gdstk.Reference(latch_diff, (0.165,3.58)))
dflipflop.add(gdstk.Reference(latch_diff, (8.535,11.76), rotation=pi))
dflipflop.add(gdstk.Reference(clock_inverter, (-6.22,0)))
dflipflop.add(gdstk.Label('vss', (-2.937,7.67), layer=68, texttype=5))
dflipflop.add(gdstk.Label('vdd', (1.24,14.855), layer=68, texttype=5))
dflipflop.add(gdstk.Label('D', (-4.835,7.67), layer=70, texttype=5))
dflipflop.add(gdstk.Label('CLK', (4.347,4.655), layer=66, texttype=5))
dflipflop.add(gdstk.Label('nCLK', (4.352,10.685), layer=66, texttype=5))
dflipflop.add(gdstk.Label('nQ', (6.695,3.772), layer=69, texttype=5))
dflipflop.add(gdstk.Label('Q', (7.745,11.567), layer=69, texttype=5))

lib.write_gds('DFlipFlop.gds')
